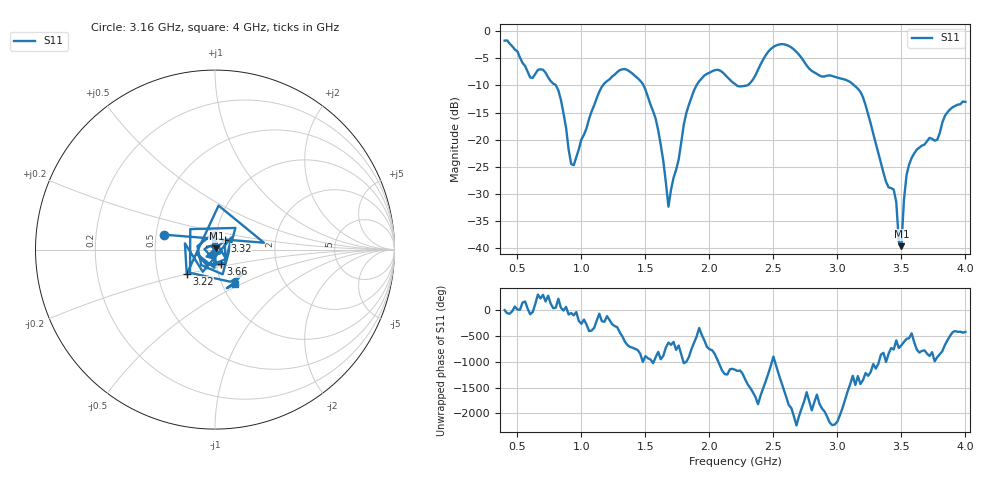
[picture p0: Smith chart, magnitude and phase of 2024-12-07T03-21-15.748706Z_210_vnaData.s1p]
!Created with skrf (http://scikit-rf.org).
# Hz S RI R 50.0
!freq ReS11 ImS11
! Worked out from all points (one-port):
!   181 points, 400 MHz to 4 GHz, reference 50 ohm
!   lowest |S11| = -39.7 dB at 3.5 GHz (marker M1), VSWR 1.02, Z = 50.8 + j0.707 ohm
!   |S11| at or under -10 dB: 801.1 MHz to 1.168 GHz (366.4 MHz wide, 37.2 % of centre); 1.485 GHz to 1.899 GHz (413.7 MHz wide, 24.4 % of centre); 3.132 GHz to end of sweep (the widest 3 of 4)
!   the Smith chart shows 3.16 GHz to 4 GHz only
!   S11 on the Smith chart (normalised r, x): 3.16 GHz: 0.55, +0.10; 3.22 GHz: 0.70, -0.20; 3.32 GHz: 1.11, +0.11; 3.66 GHz: 1.05, -0.17; 4 GHz: 1.15, -0.47
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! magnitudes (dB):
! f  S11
! 400 MHz  -1.7
! 600 MHz  -8.5
! 800 MHz  -9.9
! 860 MHz  -15.1
! 940 MHz  -24.7
! 1.14 GHz  -11.2
! 1.3 GHz  -7.2
! 1.5 GHz  -10.7
! 1.6 GHz  -18.3
! 1.68 GHz  -32.4
! 1.76 GHz  -23.7
! 1.82 GHz  -15.1
! 1.92 GHz  -9.2
! 2.2 GHz  -9.7
! 2.32 GHz  -9.5
! 2.5 GHz  -2.9
! 2.66 GHz  -3.4
! 3.1 GHz  -9.4
! 3.16 GHz  -10.6
! 3.22 GHz  -13.6
! 3.32 GHz  -22.5
! 3.44 GHz  -29.2
! 3.48 GHz  -38.8
! 3.5 GHz  -39.7
! 3.52 GHz  -31.1
! 3.56 GHz  -24.6
! 3.66 GHz  -21.1
! 4 GHz  -13.0
